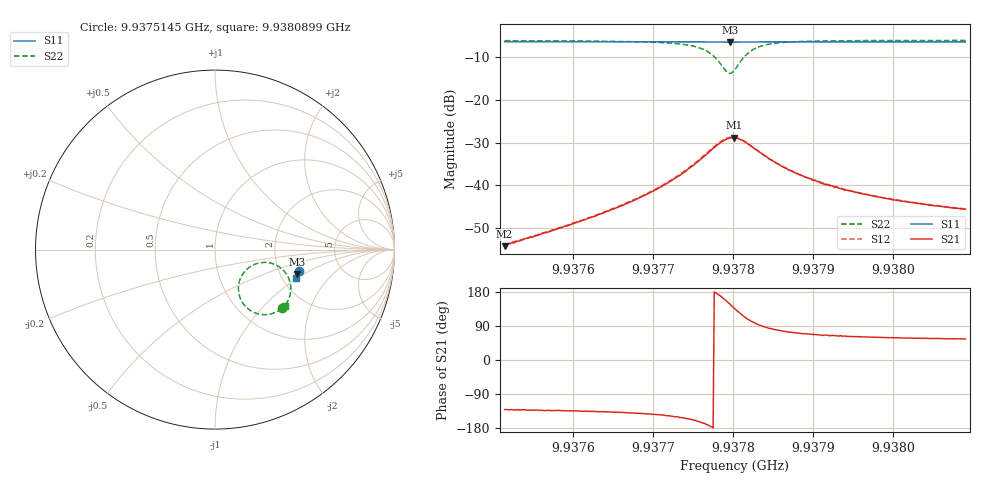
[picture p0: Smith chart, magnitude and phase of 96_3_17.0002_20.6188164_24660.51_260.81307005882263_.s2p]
#  HZ  S  RI  R  50.00
! Rohde & Schwarz Vector Network Analyzer
! Rohde-Schwarz,ZNB20-2Port,1311601062101988,3.16
! Created: UTC 3/20/2024, 10:56:21 PM
! freq[Hz]  re:S11  im:S11  re:S21  im:S21  re:S12  im:S12  re:S22  im:S22
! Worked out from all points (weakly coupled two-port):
!   401 points, 9.9375145 GHz to 9.9380899 GHz, reference 50 ohm
!   highest |S21| = -28.82 dB at 9.9378007 GHz (marker M1); lowest = -54.2 dB at 9.9375145 GHz (marker M2)
!   lowest |S11| = -6.4 dB at 9.9377964 GHz (marker M3), VSWR 2.82, Z = 123 - j43.6 ohm
!   |S11| at or under -10 dB: nowhere
!   |S22| runs from -13.7 to -6.0 dB; largest |S21 - S12| = 0.002
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9.93751448e9  0.4672 -0.1202  -0.00127 -0.00148  -0.00134 -0.00152  0.3724 -0.3274
9.93761086e9  0.465 -0.1267  -0.00273 -0.00276  -0.00281 -0.00273  0.355 -0.3399
9.93766696e9  0.4636 -0.1306  -0.00463 -0.00403  -0.0048 -0.00402  0.3352 -0.3506
9.93770724e9  0.4623 -0.1336  -0.00762 -0.00543  -0.00787 -0.00542  0.3074 -0.3597
9.93773601e9  0.461 -0.1356  -0.0121 -0.0065  -0.0125 -0.00646  0.2678 -0.3626
9.93776191e9  0.4593 -0.1374  -0.0206 -0.00523  -0.0214 -0.00493  0.1995 -0.3409
9.93777342e9  0.4585 -0.1378  -0.0265 -0.00147  -0.0272 -0.000729  0.1575 -0.3019
9.93778349e9  0.4576 -0.1378  -0.031 0.00564  -0.0316 0.00704  0.1318 -0.2358
9.93779212e9  0.4571 -0.1372  -0.0316 0.0151  -0.0317 0.0168  0.1425 -0.1588
9.93779643e9  0.457 -0.1368  -0.0299 0.0201  -0.0297 0.0219  0.1653 -0.1224
9.93780075e9  0.4571 -0.1366  -0.0268 0.0244  -0.0261 0.0262  0.1986 -0.0936
9.93780219e9  0.4572 -0.1365  -0.0254 0.0256  -0.0246 0.0272  0.211 -0.0866
9.93780938e9  0.4579 -0.1363  -0.018 0.0292  -0.0168 0.0304  0.2758 -0.0711
9.93781657e9  0.4585 -0.1367  -0.0108 0.0296  -0.00962 0.0301  0.3318 -0.0819
9.93782377e9  0.4592 -0.137  -0.00547 0.0277  -0.00433 0.0281  0.3704 -0.1053
9.9378324e9  0.4594 -0.138  -0.00106 0.0248  -0.00023 0.0248  0.3983 -0.1365
9.93784534e9  0.4596 -0.1392  0.00225 0.0202  0.00267 0.0202  0.4165 -0.1766
9.93786261e9  0.4594 -0.1408  0.00406 0.0161  0.00432 0.0159  0.4226 -0.2139
9.93789857e9  0.4589 -0.1437  0.0044 0.0107  0.00473 0.0109  0.4173 -0.2564
9.93794173e9  0.4577 -0.1469  0.00406 0.00782  0.00424 0.00785  0.4081 -0.2814
9.93799495e9  0.4564 -0.1506  0.00359 0.00594  0.00375 0.00596  0.3988 -0.2979
9.9380899e9  0.454 -0.1569  0.00297 0.00435  0.00311 0.00432  0.3874 -0.3144
